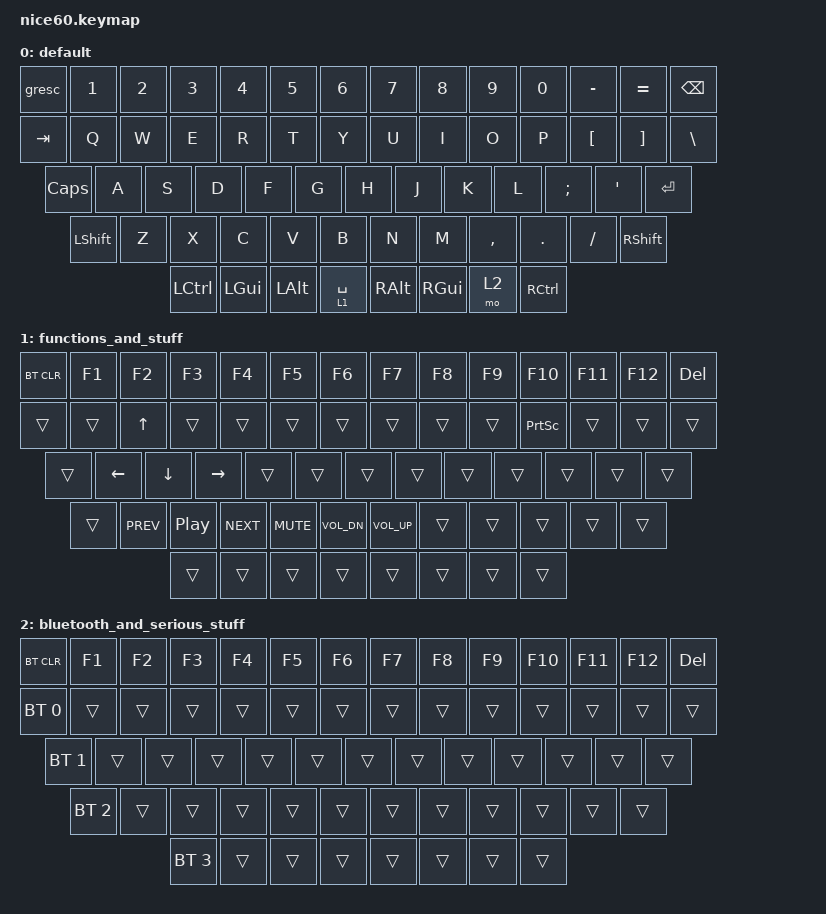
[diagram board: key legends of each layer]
/*
 * Copyright (c) 2021 Nick Winans
 *
 * SPDX-License-Identifier: MIT
 */

#include <behaviors.dtsi>
#include <dt-bindings/zmk/keys.h>
#include <dt-bindings/zmk/rgb.h>
#include <dt-bindings/zmk/bt.h>
#include <dt-bindings/zmk/outputs.h>
#include <dt-bindings/zmk/reset.h>
#include <dt-bindings/zmk/ext_power.h>

/ {
	keymap {
		compatible = "zmk,keymap";
		
		default {
// ------------------------------------------------------------------------------------------
// | ESC |  1  |  2  |  3  |  4  |  5  |  6  |  7  |  8  |  9  |  0  |  -  |  =  |   BKSP   |
// | TAB  |  Q  |  W  |  E  |  R  |  T  |  Y  |  U  |  I  |  O  |  P  |  [  |  ]  |   "|"   |
// | CAPS  |  A  |  S  |  D  |  F  |  G  |  H  |  J  |  K  |  L  |  ;  |  '  |     ENTER    |
// |  SHIFT  |  Z  |  X  |  C  |  V  |  B  |  N  |  M  |  ,  |  .  |  /  |      SHIFT       |
// |  CTL  |  WIN  |  ALT  |            SPACE              |  ALT  |  WIN  |  MO(2) |  CTL  |
// ------------------------------------------------------------------------------------------
			bindings = <
	&gresc  &kp N1 &kp N2 &kp N3 &kp N4 &kp N5 &kp N6 &kp N7 &kp N8 &kp N9 &kp N0 &kp MINUS &kp EQUAL  &kp BSPC
	&kp TAB  &kp Q  &kp W  &kp E  &kp R  &kp T  &kp Y  &kp U  &kp I  &kp O  &kp P  &kp LBKT  &kp RBKT  &kp BSLH
	&kp CLCK  &kp A  &kp S  &kp D  &kp F  &kp G  &kp H  &kp J  &kp K  &kp L  &kp SEMI &kp SQT           &kp RET
	&kp LSHFT   &kp Z  &kp X  &kp C  &kp V  &kp B  &kp N  &kp M  &kp COMMA &kp DOT &kp FSLH           &kp RSHFT
	&kp LCTRL &kp LGUI &kp LALT               &lt 1 SPACE                 &kp RALT  &kp RGUI  &mo 2   &kp RCTRL
			>;
		};

		functions_and_stuff {
// ------------------------------------------------------------------------------------------------
// | BT CLR | F1  | F2  | F3  | F4  | F5  | F6  | F7  | F8  | F9  | F10  | F11 | F12 |    DEL     |
// |  BT 1   |   |  UP |   |       |       |       |       |   |     |    |     |     |           |
// |   BT 2   | LT |  DN  | RT |       |       |       |       |   |     |   |     |              |
// |    BT 3    | PREV|PLAY/PS | NEXT | MUTE |VOL DN |VOL UP|     |     |     |     |             |
// |       |      |      |                                    |        |        |        |        |
// ------------------------------------------------------------------------------------------------
			bindings = <
	&bt BT_CLR   &kp F1    &kp F2    &kp F3  &kp F4           &kp F5          &kp F6          &kp F7          &kp F8   &kp F9   &kp F10  &kp F11 &kp F12  &kp DEL
	&trans  &trans    &kp UP    &trans  &trans  &trans &trans &trans  &trans   &trans   &kp PSCRN   &trans  &trans          &trans 
	&trans   &kp LEFT  &kp DOWN  &kp RIGHT   &trans   &trans   &trans   &trans   &trans     &trans     &trans     &trans          &trans
	&trans    &kp C_PREV  &kp C_PP    &kp C_NEXT   &kp C_MUTE      &kp C_VOL_DN      &kp C_VOL_UP          &trans          &trans   &trans   &trans   &trans
	&trans  &trans   &trans                            &trans                                      &trans      &trans      &trans               &trans
			>;
		};
				
		bluetooth_and_serious_stuff {
// ------------------------------------------------------------------------------------------------
// | BT CLR | F1  | F2  | F3  | F4  | F5  | F6  | F7  | F8  | F9  | F10  | F11 | F12 |    DEL     |
// |  BT 1   |   |  UP |   |       |       |       |       |   |     |    |     |     |           |
// |   BT 2   | LT |  DN  | RT |       |       |       |       |   |     |   |     |              |
// |    BT 3    | PREV|PLAY/PS | NEXT | MUTE |VOL DN |VOL UP|     |     |     |     |             |
// |       |      |      |                                    |        |        |        |        |
// ------------------------------------------------------------------------------------------------
			bindings = <
	&bt BT_CLR   &kp F1    &kp F2    &kp F3  &kp F4           &kp F5          &kp F6          &kp F7          &kp F8   &kp F9   &kp F10  &kp F11 &kp F12  &kp DEL
	&bt BT_SEL 0  &trans    &trans    &trans  &trans  &trans &trans &trans  &trans   &trans   &trans   &trans  &trans          &trans 
	&bt BT_SEL 1   &trans  &trans  &trans   &trans   &trans   &trans   &trans   &trans     &trans     &trans     &trans          &trans
	&bt BT_SEL 2    &trans  &trans    &trans   &trans      &trans      &trans          &trans          &trans   &trans   &trans   &trans
	&bt BT_SEL 3  &trans   &trans                            &trans                                      &trans      &trans      &trans               &trans
			>;
		};
	};
};
